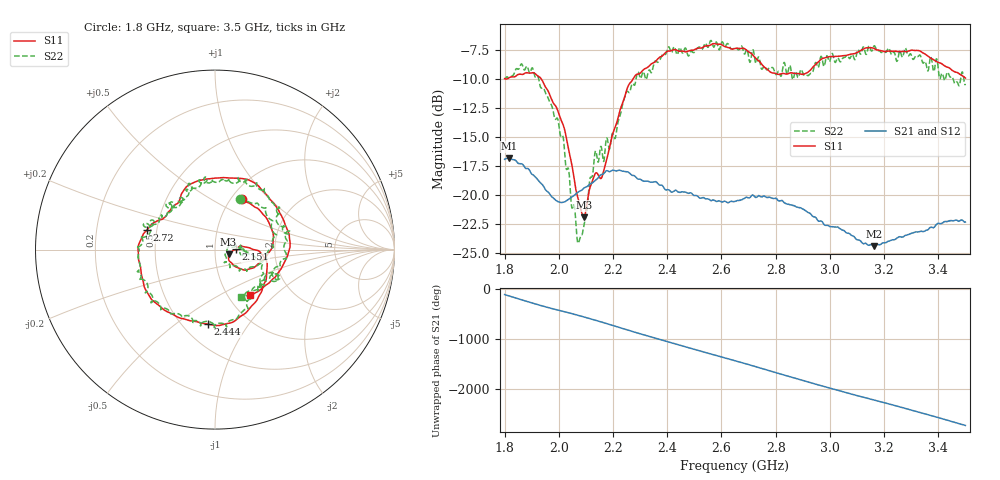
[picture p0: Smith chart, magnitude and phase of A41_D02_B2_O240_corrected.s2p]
! Created with skrf 1.9.0 (http://scikit-rf.org).
# Hz S RI R 50.0
!freq ReS11 ImS11 ReS21 ImS21 ReS12 ImS12 ReS22 ImS22
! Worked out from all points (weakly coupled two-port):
!   1601 points, 1.8 GHz to 3.5 GHz, reference 50 ohm
!   highest |S21| = -16.85 dB at 1.817 GHz (marker M1); lowest = -24.4 dB at 3.163 GHz (marker M2)
!   lowest |S11| = -22.0 dB at 2.092 GHz (marker M3), VSWR 1.17, Z = 58.1 - j3.03 ohm
!   |S11| at or under -10 dB: 1.803065 GHz to 1.808261 GHz (5.196 MHz wide, 0.288 % of centre); 1.935 GHz to 2.274 GHz (338.5 MHz wide, 16.1 % of centre)
!   |S22| runs from -24.2 to -6.7 dB; largest |S21 - S12| = 0.0025
!   S11 on the Smith chart (normalised r, x): 1.8 GHz: 1.12, +0.70; 2.151 GHz: 1.27, +0.01; 2.444 GHz: 0.66, -0.66; 2.72 GHz: 0.44, +0.11; 3.5 GHz: 1.26, -0.71
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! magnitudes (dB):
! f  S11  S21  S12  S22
! 1.8 GHz  -10.0  -16.9  -16.9  -10.0
! 1.817 GHz  -9.9  -16.9  -16.9  -9.9
! 1.902 GHz  -9.5  -18.2  -18.2  -9.0
! 1.966 GHz  -11.3  -19.9  -20.0  -11.9
! 2.02 GHz  -14.2  -20.6  -20.6  -15.9
! 2.07 GHz  -20.2  -19.8  -19.8  -24.2
! 2.084 GHz  -21.5  -19.6  -19.6  -23.5
! 2.092 GHz  -22.0  -19.4  -19.5  -22.7
! 2.13 GHz  -18.4  -18.8  -18.8  -16.9
! 2.151 GHz  -18.5  -18.4  -18.4  -16.4
! 2.209 GHz  -14.1  -17.9  -17.9  -15.1
! 2.258 GHz  -10.5  -18.1  -18.1  -11.2
! 2.367 GHz  -8.2  -19.1  -19.0  -8.5
! 2.444 GHz  -7.6  -19.8  -19.8  -7.4
! 2.65 GHz  -7.4  -20.6  -20.5  -7.3
! 2.72 GHz  -8.1  -20.1  -20.0  -7.8
! 2.807 GHz  -9.6  -20.4  -20.4  -9.4
! 2.934 GHz  -9.1  -21.8  -21.8  -9.5
! 3.163 GHz  -7.4  -24.4  -24.4  -7.1
! 3.217 GHz  -7.6  -24.0  -24.0  -7.3
! 3.329 GHz  -7.6  -23.2  -23.2  -8.0
! 3.5 GHz  -9.9  -22.4  -22.3  -10.4
